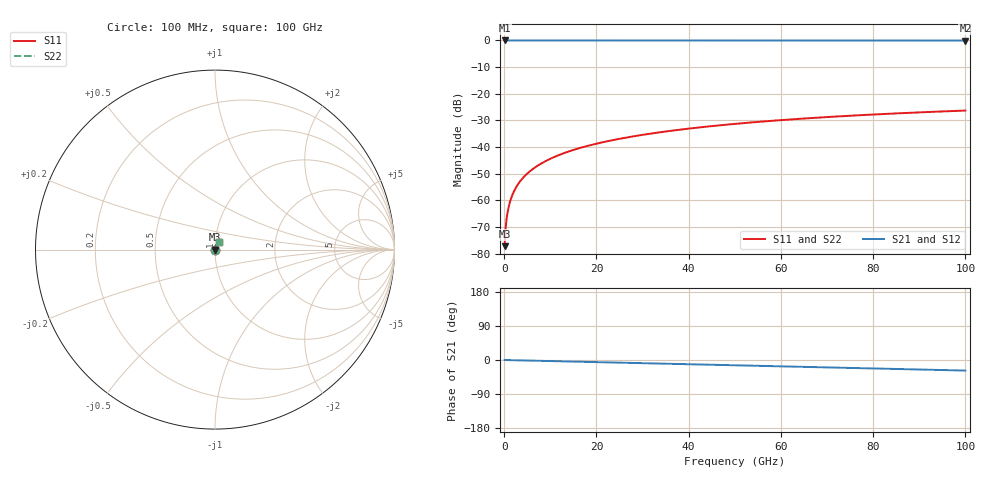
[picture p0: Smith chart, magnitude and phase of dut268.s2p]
! Touchstone file exported from HFSS 2026.1.0
!  File:  C:/ffzhzh/LocalFiles/Ansys_Project_Files/temp_train_TSV_268_1783508631_41296.aedt
!  Generated:  07:04:58 PM Jul  8, 2026
!  Design:  TSV
!  Project:  temp_train_TSV_268_1783508631_41296
! Variables:
!  h_bsmrdl = 2um
!  h_ox = 20um
!  h_rdl = 5um
!  h_sub = 51.87um
!  h_tmrdl = 5um
!  h_tsv = 51.87um
!  h_via = 3um
!  l_bsmrdl = 300um
!  l_sub = 418.26um
!  l_tmrdl = 200um
!  m_sub = 200um
!  pitch = 41.59um
!  r_tsv = 9.13um
!  s_tmrdl = 10um
!  w_bsmrdl = 18um
!  w_sub = 500um
!  w_tmrdl = 12um
!  x_tsv_center1 = 206um
!  x_tsv_center2 = 524um
!  x_tsv_center3 = 736um
!  x_tsv_center4 = 1054um
!  x_tsv_center5 = 1266um
!  x_tsv_center6 = 1584um
# GHz S MA R 50.000000
! Terminal data exported
! Port[1] = TSV1_1_T1
! Port[2] = TSV1_1_T2
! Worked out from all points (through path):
!   1000 points, 100 MHz to 100 GHz, reference 50 ohm
!   highest |S21| = 0.00 dB at 100 MHz (marker M1); lowest = 0.0 dB at 100 GHz (marker M2)
!   group delay of S21, straight-line fit = 773 fs
!   lowest |S11| = -77.2 dB at 100 MHz (marker M3), VSWR 1.00, Z = 50 + j0.00889 ohm
!   |S11| at or under -10 dB: start of sweep to end of sweep
!   |S22| runs from -77.2 to -26.3 dB; largest |S21 - S12| = 2.1e-15
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0.1  0.0001387 39.9  0.9999 -0.0  0.9999 -0.0  0.0001387 39.9
! Gamma 0 0 0 0
! Port Impedance 50 0 50 0
0.4  0.0003596 66.0  0.9999 -0.1  0.9999 -0.1  0.0003596 66.0
0.7  0.0005669 70.9  0.9998 -0.2  0.9998 -0.2  0.0005669 70.9
0.8  0.0006334 72.0  0.9998 -0.2  0.9998 -0.2  0.0006334 72.0
1.1  0.0008298 74.2  0.9998 -0.3  0.9998 -0.3  0.0008298 74.2
1.4  0.001023 75.6  0.9998 -0.4  0.9998 -0.4  0.001023 75.6
1.9  0.00134 77.0  0.9997 -0.5  0.9997 -0.5  0.00134 77.0
2.4  0.001648 77.8  0.9997 -0.7  0.9997 -0.7  0.001648 77.8
3.1  0.00207 78.6  0.9996 -0.9  0.9996 -0.9  0.00207 78.6
3.9  0.002541 79.3  0.9996 -1.1  0.9996 -1.1  0.002541 79.3
4.9  0.003123 79.9  0.9995 -1.4  0.9995 -1.4  0.003123 79.9
6.1  0.003815 80.3  0.9995 -1.7  0.9995 -1.7  0.003815 80.4
8.9  0.005414 80.7  0.9993 -2.5  0.9993 -2.5  0.005414 80.7
12.5  0.007444 80.5  0.9992 -3.5  0.9992 -3.5  0.007444 80.5
16.8  0.009827 80.0  0.999 -4.7  0.999 -4.7  0.009827 80.0
24.2  0.01386 78.8  0.9988 -6.8  0.9988 -6.8  0.01386 78.8
33.4  0.01877 76.9  0.9986 -9.3  0.9986 -9.3  0.01877 76.9
41.2  0.02283 75.1  0.9983 -11.5  0.9983 -11.5  0.02283 75.1
50.1  0.0273 72.8  0.9981 -14.0  0.9981 -14.0  0.0273 72.8
66.7  0.03512 68.5  0.9976 -18.6  0.9976 -18.6  0.03512 68.5
83.4  0.04221 64.1  0.9971 -23.2  0.9971 -23.2  0.04221 64.1
100  0.04844 59.8  0.9965 -27.9  0.9965 -27.9  0.04844 59.8
